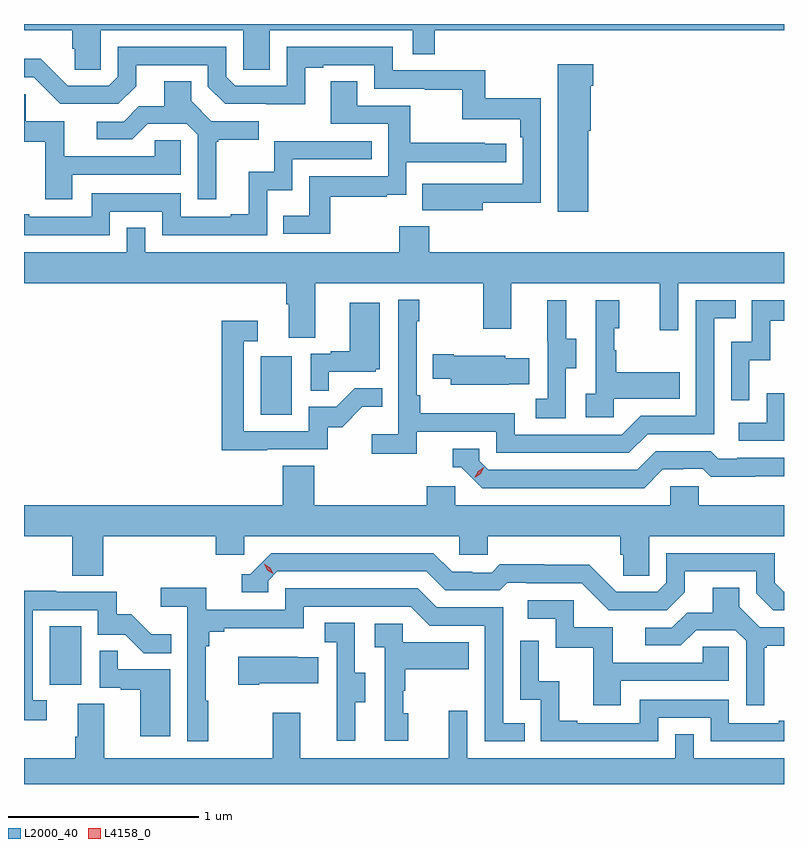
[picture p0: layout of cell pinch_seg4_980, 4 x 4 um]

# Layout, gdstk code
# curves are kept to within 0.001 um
import gdstk
lib = gdstk.Library(unit=1e-6, precision=1e-09)
def R(c, l, rs):  # rectangles x0, y0, x1, y1
    for r in rs: c.add(gdstk.rectangle(r[:2], r[2:], *l))
def P(c, l, *ps):  # polygons
    for p in ps: c.add(gdstk.Polygon(p, *l))
L2000_40 = (2000, 40)
L4158_0 = (4158, 0)

pinch_seg4_980 = lib.new_cell('pinch_seg4_980')
R(pinch_seg4_980, L2000_40, [(853.298,780.054,853.462,780.361), (854.408,781.476,854.572,781.783)])
P(pinch_seg4_980, L2000_40, [(853.566,783.5),(854.316,783.5),(854.316,783.292),(854.455,783.292),(854.455,783.5),(855.207,783.5),(855.207,783.373),(855.323,783.373),(855.323,783.5),(857.162,783.5),(857.162,783.532),(853.162,783.532),(853.162,783.5),(853.415,783.5),(853.415,783.402),(853.429,783.402),(853.429,783.292),(853.566,783.292)],
  [(855.577,782.59),(855.882,782.59),(855.882,783.142),(855.589,783.142),(855.589,783.288),(855.102,783.288),(855.102,783.411),(854.544,783.411),(854.544,783.207),(854.274,783.207),(854.226,783.255),(854.226,783.411),(853.656,783.411),(853.656,783.255),(853.608,783.207),(853.392,783.207),(853.25,783.349),(853.162,783.349),(853.162,783.252),(853.212,783.252),(853.353,783.111),(853.659,783.111),(853.753,783.205),(853.753,783.315),(854.13,783.315),(854.13,783.201),(854.22,783.111),(854.641,783.11),(854.641,783.303),(854.737,783.303),(854.737,783.315),(855.006,783.315),(855.006,783.192),(855.271,783.192),(855.271,783.187),(855.468,783.187),(855.468,783.032),(855.773,783.032),(855.773,782.936),(855.786,782.936),(855.786,782.691),(855.259,782.692),(855.259,782.552),(855.577,782.552)],
  [(856.132,782.97),(856.144,782.97),(856.144,783.206),(856.157,783.206),(856.157,783.319),(855.971,783.319),(855.971,782.544),(856.132,782.544)],
  [(854.773,782.622),(855.071,782.622),(855.071,782.633),(855.174,782.633),(855.174,782.805),(855.7,782.805),(855.7,782.901),(855.587,782.901),(855.587,782.906),(855.194,782.906),(855.194,783.102),(854.917,783.102),(854.917,783.23),(854.777,783.23),(854.777,783.006),(855.078,783.006),(855.078,782.73),(854.662,782.73),(854.662,782.524),(854.527,782.524),(854.527,782.427),(854.773,782.427)],
  [(854.173,782.913),(854.185,782.913),(854.185,782.924),(854.398,782.924),(854.398,783.021),(854.148,783.021),(854.041,783.128),(854.041,783.23),(853.901,783.23),(853.901,783.098),(853.766,783.098),(853.686,783.018),(853.545,783.018),(853.545,782.925),(853.732,782.925),(853.813,783.006),(854.019,783.006),(854.076,782.949),(854.076,782.61),(854.173,782.61)],
  [(853.417,782.739),(853.986,782.739),(853.986,782.919),(853.849,782.919),(853.849,782.835),(853.375,782.835),(853.375,783.021),(853.17,783.021),(853.17,783.162),(853.162,783.162),(853.162,782.913),(853.273,782.913),(853.273,782.61),(853.417,782.61)],
  [(853.614,782.544),(853.89,782.544),(853.89,782.421),(854.442,782.421),(854.442,782.657),(854.574,782.657),(854.574,782.82),(854.993,782.82),(854.993,782.916),(854.478,782.916),(854.478,782.755),(854.345,782.755),(854.345,782.53),(854.249,782.53),(854.249,782.517),(853.986,782.517),(853.986,782.64),(853.518,782.64),(853.518,782.517),(853.189,782.517),(853.189,782.53),(853.162,782.53),(853.162,782.421),(853.614,782.421)],
  [(854.695,782.168),(855.58,782.168),(855.58,781.929),(855.727,781.929),(855.727,782.168),(856.508,782.168),(856.508,781.92),(856.605,781.92),(856.605,782.168),(857.162,782.168),(857.162,782.332),(855.296,782.332),(855.296,782.467),(855.136,782.467),(855.136,782.332),(853.8,782.332),(853.8,782.459),(853.704,782.459),(853.704,782.332),(853.162,782.332),(853.162,782.168),(854.543,782.168),(854.543,782.056),(854.555,782.056),(854.555,781.882),(854.695,781.882)],
  [(855.23,781.386),(855.648,781.386),(855.648,781.275),(856.345,781.275),(856.444,781.374),(856.794,781.374),(856.794,781.983),(856.907,781.983),(856.907,782.079),(856.698,782.079),(856.698,781.47),(856.407,781.47),(856.308,781.371),(855.744,781.371),(855.744,781.483),(855.248,781.483),(855.248,781.579),(855.228,781.579),(855.228,781.967),(855.241,781.967),(855.241,782.08),(855.132,782.08),(855.132,781.372),(854.991,781.372),(854.991,781.27),(855.23,781.27)],
  [(856.98,781.763),(857.09,781.763),(857.09,781.971),(857.162,781.971),(857.162,782.079),(856.992,782.079),(856.992,781.86),(856.884,781.86),(856.884,781.551),(856.98,781.551)],
  [(856.266,781.559),(856.613,781.559),(856.613,781.699),(856.279,781.699),(856.279,781.814),(856.269,781.814),(856.269,781.932),(856.294,781.932),(856.294,782.077),(856.17,782.077),(856.17,781.586),(856.119,781.586),(856.119,781.461),(856.266,781.461)],
  [(856.014,781.72),(856.069,781.72),(856.069,781.875),(856.015,781.875),(856.015,782.077),(855.917,782.077),(855.917,781.863),(855.918,781.863),(855.918,781.559),(855.855,781.559),(855.855,781.456),(856.014,781.456)],
  [(854.765,781.701),(855.012,781.701),(855.012,781.716),(855.034,781.716),(855.034,782.065),(854.876,782.065),(854.876,781.81),(854.777,781.81),(854.777,781.797),(854.67,781.797),(854.67,781.603),(854.765,781.603)],
  [(854.441,781.293),(854.76,781.293),(854.76,781.41),(854.836,781.41),(854.943,781.517),(855.047,781.517),(855.047,781.616),(854.903,781.616),(854.805,781.518),(854.661,781.518),(854.661,781.389),(854.319,781.389),(854.319,781.863),(854.392,781.863),(854.392,781.969),(854.203,781.969),(854.203,781.288),(854.441,781.288)],
  [(855.713,781.637),(855.821,781.637),(855.821,781.774),(855.696,781.774),(855.696,781.786),(855.424,781.786),(855.424,781.794),(855.313,781.794),(855.313,781.664),(855.407,781.664),(855.407,781.634),(855.713,781.634)],
  [(857.162,781.588),(857.07,781.588),(857.07,781.434),(856.923,781.434),(856.923,781.338),(857.162,781.338)],
  [(856.525,781.188),(856.632,781.188),(856.632,781.191),(856.735,781.191),(856.777,781.149),(857.01,781.149),(857.01,781.151),(857.162,781.151),(857.162,781.248),(856.915,781.248),(856.915,781.245),(856.816,781.245),(856.777,781.284),(856.488,781.284),(856.389,781.185),(855.606,781.185),(855.558,781.233),(855.558,781.296),(855.419,781.296),(855.419,781.2),(855.462,781.2),(855.573,781.089),(856.426,781.089)],
  [(856.563,781.098),(856.563,781),(855.432,781),(855.432,781.098),(855.281,781.098),(855.281,781),(854.69,781),(854.69,781.208),(854.525,781.208),(854.525,781),(853.162,781),(853.162,780.836),(853.415,780.836),(853.415,780.628),(853.58,780.628),(853.58,780.836),(854.171,780.836),(854.171,780.738),(854.322,780.738),(854.322,780.836),(855.453,780.836),(855.453,780.738),(855.603,780.738),(855.603,780.836),(856.301,780.836),(856.301,780.738),(856.315,780.738),(856.315,780.628),(856.452,780.628),(856.452,780.836),(857.162,780.836),(857.162,781),(856.713,781),(856.713,781.098)],
  [(856.639,780.541),(856.639,780.651),(857.016,780.651),(857.016,780.537),(857.106,780.447),(857.162,780.447),(857.162,780.543),(857.16,780.543),(857.112,780.591),(857.112,780.747),(856.542,780.747),(856.542,780.591),(856.494,780.543),(856.278,780.543),(856.136,780.685),(855.9,780.685),(855.9,780.688),(855.667,780.688),(855.625,780.645),(855.522,780.645),(855.522,780.648),(855.415,780.648),(855.316,780.747),(854.463,780.747),(854.352,780.636),(854.309,780.636),(854.309,780.54),(854.448,780.54),(854.448,780.603),(854.496,780.651),(855.279,780.651),(855.378,780.552),(855.667,780.552),(855.706,780.591),(855.805,780.591),(855.805,780.588),(856.098,780.588),(856.239,780.447),(856.545,780.447)],
  [(854.131,779.969),(854.119,779.969),(854.119,780.257),(854.138,780.257),(854.138,780.334),(854.215,780.334),(854.215,780.353),(854.634,780.353),(854.634,780.465),(855.198,780.465),(855.297,780.366),(855.588,780.366),(855.588,779.757),(855.797,779.757),(855.797,779.853),(855.684,779.853),(855.684,780.462),(855.334,780.462),(855.235,780.561),(854.538,780.561),(854.538,780.45),(854.12,780.45),(854.12,780.566),(853.881,780.566),(853.881,780.464),(854.022,780.464),(854.022,779.757),(854.131,779.757)],
  [(857.059,780.249),(857.071,780.249),(857.071,780.26),(857.162,780.26),(857.162,780.357),(857.034,780.357),(856.927,780.464),(856.927,780.566),(856.787,780.566),(856.787,780.434),(856.652,780.434),(856.572,780.354),(856.431,780.354),(856.431,780.261),(856.618,780.261),(856.699,780.342),(856.905,780.342),(856.962,780.285),(856.962,779.946),(857.059,779.946)],
  [(853.282,779.973),(853.209,779.973),(853.209,780.447),(853.551,780.447),(853.551,780.318),(853.695,780.318),(853.793,780.22),(853.937,780.22),(853.937,780.319),(853.833,780.319),(853.726,780.426),(853.65,780.426),(853.65,780.543),(853.331,780.543),(853.331,780.548),(853.162,780.548),(853.162,779.868),(853.282,779.868)],
  [(856.303,780.075),(856.872,780.075),(856.872,780.255),(856.735,780.255),(856.735,780.171),(856.261,780.171),(856.261,780.357),(856.056,780.357),(856.056,780.498),(855.813,780.498),(855.813,780.402),(855.96,780.402),(855.96,780.249),(856.159,780.249),(856.159,779.946),(856.303,779.946)],
  [(854.905,779.962),(854.959,779.962),(854.959,780.117),(854.904,780.117),(854.904,780.38),(854.745,780.38),(854.745,780.277),(854.808,780.277),(854.808,779.973),(854.807,779.973),(854.807,779.76),(854.905,779.76)],
  [(855.184,779.904),(855.159,779.904),(855.159,780.023),(855.169,780.023),(855.169,780.137),(855.503,780.137),(855.503,780.277),(855.156,780.277),(855.156,780.375),(855.009,780.375),(855.009,780.251),(855.06,780.251),(855.06,779.76),(855.184,779.76)],
  [(856.5,779.88),(856.776,779.88),(856.776,779.757),(857.162,779.757),(857.162,779.866),(857.135,779.866),(857.135,779.853),(856.872,779.853),(856.872,779.976),(856.404,779.976),(856.404,779.853),(856.075,779.853),(856.075,779.866),(855.98,779.866),(855.98,780.074),(855.87,780.074),(855.87,780.286),(855.774,780.286),(855.774,779.976),(855.882,779.976),(855.882,779.757),(856.5,779.757)],
  [(853.933,780.135),(853.655,780.135),(853.655,780.233),(853.56,780.233),(853.56,780.039),(853.671,780.039),(853.671,780.027),(853.775,780.027),(853.775,779.784),(853.933,779.784)],
  [(854.401,780.062),(854.711,780.062),(854.711,780.199),(854.603,780.199),(854.603,780.202),(854.289,780.202),(854.289,780.055),(854.401,780.055)],
  [(855.495,779.917),(855.398,779.917),(855.398,779.668),(854.617,779.668),(854.617,779.908),(854.47,779.908),(854.47,779.668),(853.585,779.668),(853.585,779.954),(853.445,779.954),(853.445,779.78),(853.433,779.78),(853.433,779.668),(853.162,779.668),(853.162,779.532),(857.162,779.532),(857.162,779.668),(856.686,779.668),(856.686,779.795),(856.59,779.795),(856.59,779.668),(855.495,779.668)])
P(pinch_seg4_980, L4158_0, [(855.535,781.147),(855.535,781.147),(855.552,781.179),(855.583,781.198),(855.583,781.198),(855.583,781.198),(855.566,781.166),(855.536,781.147)],
  [(854.473,780.638),(854.443,780.658),(854.427,780.691),(854.427,780.691),(854.427,780.691),(854.458,780.671),(854.474,780.638),(854.474,780.638)])

lib.write_gds('pinch_seg4_980.gds')
